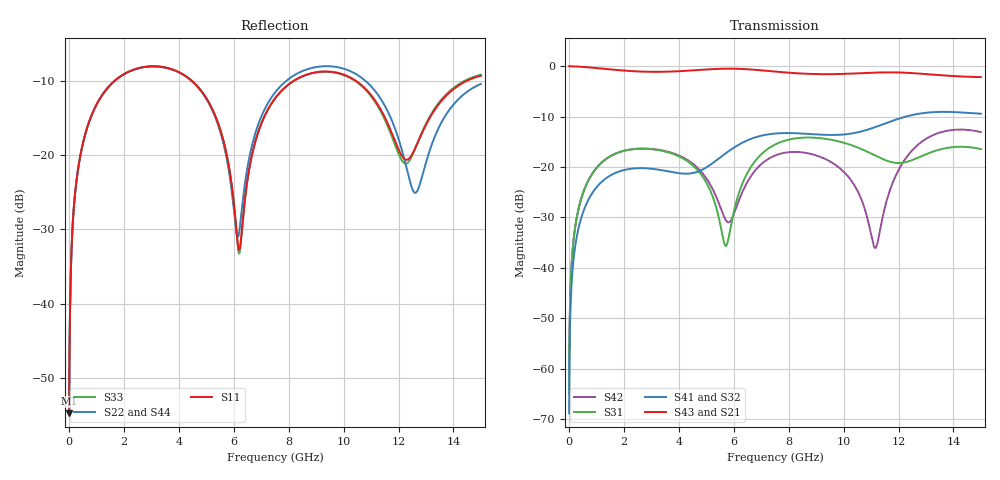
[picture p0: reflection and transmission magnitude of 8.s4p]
! Created with skrf 1.8.0 (http://scikit-rf.org).
# GHz S RI R 50.0
!freq ReS11 ImS11 ReS12 ImS12 ReS13 ImS13
! ReS14 ImS14
! ReS21 ImS21 ReS22 ImS22 ReS23 ImS23
! ReS24 ImS24
! ReS31 ImS31 ReS32 ImS32 ReS33 ImS33
! ReS34 ImS34
! ReS41 ImS41 ReS42 ImS42 ReS43 ImS43
! ReS44 ImS44
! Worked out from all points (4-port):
!   2499 points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, 5 MHz to 15 GHz, reference 50 ohm
!   strongest paths, dB at 5 MHz, 3.476 GHz, 7.19 GHz, 11.1 GHz, 15 GHz:
!     S43: 0.0, -1.1, -0.9, -1.3, -2.2
!     S21: 0.0, -1.1, -0.9, -1.3, -2.2
!     S41: -68.9, -20.8, -13.6, -12.2, -9.4
!     S32: -68.9, -20.8, -13.6, -12.2, -9.5
!     S31: -65.0, -16.9, -16.6, -17.6, -16.5
!     S42: -65.0, -16.8, -18.7, -35.6, -13.1
!   lowest |S11| = -54.7 dB at 5 MHz (marker M1), VSWR 1.00, Z = 50.1 + j0.111 ohm
!   |S11| at or under -10 dB: start of sweep to 1.665 GHz; 4.471 GHz to 8.186 GHz (3.714 GHz wide, 58.7 % of centre); 10.45 GHz to 14.49 GHz (4.041 GHz wide, 32.4 % of centre)
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0.005  0.00146 0.00111  0.9985 -0.00284  7.19e-05 0.000558  -7e-05 -0.000353
       0.9985 -0.00284  0.00146 0.00111  -7e-05 -0.000353  7.19e-05 0.000558
       7.19e-05 0.000558  -7e-05 -0.000353  0.00146 0.00111  0.9985 -0.00284
       -7e-05 -0.000353  7.19e-05 0.000558  0.9985 -0.00284  0.00146 0.00111
0.3126303  0.0197 0.0737  0.9733 -0.1772  0.00856 0.0336  -0.00719 -0.0211
           0.9733 -0.1772  0.0197 0.0737  -0.00719 -0.0211  0.00861 0.0335
           0.00856 0.0336  -0.00719 -0.0211  0.0197 0.0737  0.9733 -0.1772
           -0.00719 -0.0211  0.00861 0.0335  0.9733 -0.1772  0.0197 0.0737
1.569404  0.2383 0.1899  0.6167 -0.6879  0.1115 0.0676  -0.0824 -0.0167
          0.6167 -0.6879  0.2382 0.1899  -0.0822 -0.0169  0.1124 0.0665
          0.1115 0.0676  -0.0822 -0.0169  0.2384 0.1898  0.6167 -0.6879
          -0.0824 -0.0167  0.1124 0.0665  0.6167 -0.6879  0.2381 0.19
5.989996  0.0264 -0.0428  -0.9304 -0.1515  0.0226 0.0264  -0.0195 0.1531
          -0.9304 -0.1515  0.0302 -0.0338  -0.0231 0.1526  -0.0276 0.0186
          0.0226 0.0264  -0.0231 0.1526  0.0251 -0.0432  -0.9303 -0.1518
          -0.0195 0.1531  -0.0276 0.0186  -0.9303 -0.1518  0.0317 -0.0339
9.578991  0.3628 -0.0165  0.0168 0.8311  0.1094 -0.1494  0.1988 -0.0593
          0.0168 0.8311  0.3919 -0.0503  0.199 -0.0516  0.1072 -0.0258
          0.1094 -0.1494  0.199 -0.0516  0.3609 -0.0175  0.0166 0.8323
          0.1988 -0.0593  0.1072 -0.0258  0.0166 0.8323  0.3882 -0.0498
11.15465  0.1914 -0.1311  0.6065 0.6109  -0.0788 -0.1028  0.1666 -0.1841
          0.6065 0.6109  0.1915 -0.1888  0.1744 -0.176  0.0142 0.00676
          -0.0788 -0.1028  0.1744 -0.176  0.1858 -0.1303  0.6079 0.6113
          0.1666 -0.1841  0.0142 0.00676  0.6079 0.6113  0.1891 -0.1847
15  0.3381 0.0515  0.3315 -0.7046  0.1478 -0.0264  -0.3286 -0.0753
    0.3315 -0.7046  0.2904 0.0797  -0.3213 -0.0923  0.2026 -0.0896
    0.1478 -0.0264  -0.3213 -0.0923  0.343 0.0545  0.3319 -0.7034
    -0.3286 -0.0753  0.2026 -0.0896  0.3319 -0.7034  0.2892 0.0816
